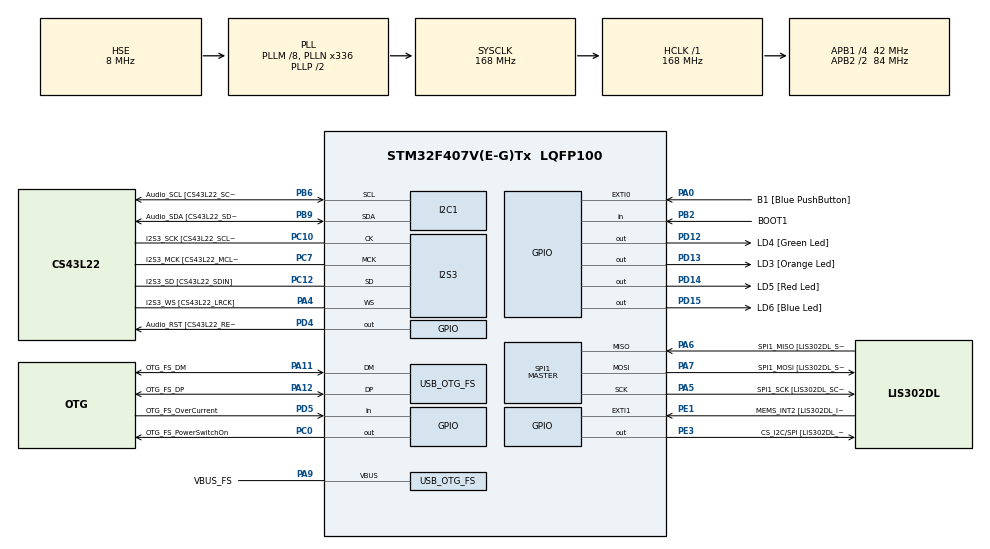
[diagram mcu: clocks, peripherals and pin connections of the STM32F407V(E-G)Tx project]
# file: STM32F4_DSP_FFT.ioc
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Dma.Request0=SPI3_TX
Dma.SPI3_TX.0.Direction=DMA_MEMORY_TO_PERIPH
Dma.SPI3_TX.0.FIFOMode=DMA_FIFOMODE_DISABLE
Dma.SPI3_TX.0.Instance=DMA1_Stream5
Dma.SPI3_TX.0.MemDataAlignment=DMA_MDATAALIGN_HALFWORD
Dma.SPI3_TX.0.MemInc=DMA_MINC_ENABLE
Dma.SPI3_TX.0.Mode=DMA_NORMAL
Dma.SPI3_TX.0.PeriphDataAlignment=DMA_PDATAALIGN_HALFWORD
Dma.SPI3_TX.0.PeriphInc=DMA_PINC_DISABLE
Dma.SPI3_TX.0.Priority=DMA_PRIORITY_HIGH
I2S3.AudioFreq-Half_Duplex_Master=I2S_AUDIOFREQ_96K
I2S3.ErrorAudioFreq=-2.34 %
I2S3.ErrorAudioFreq-Half_Duplex_Master=0.8 %
I2S3.FullDuplexMode=I2S_FULLDUPLEXMODE_DISABLE
I2S3.Instance=SPI$Index
I2S3.RealAudioFreq=93.75 KHz
I2S3.RealAudioFreq-Half_Duplex_Master=96.774 KHz
I2S3.VirtualMode=I2S_MODE_MASTER
Mcu.Family=STM32F4
Mcu.Name=STM32F407V(E-G)Tx
Mcu.Package=LQFP100
NVIC.DMA1_Stream5_IRQn=true\:0\:0\:false\:false\:true\:false\:true\:true
NVIC.OTG_FS_IRQn=true\:0\:0\:false\:false\:true\:true\:true\:true
NVIC.PriorityGroup=NVIC_PRIORITYGROUP_0
PA0-WKUP.GPIO_Label=B1 [Blue PushButton]
PA0-WKUP.GPIO_ModeDefaultEXTI=GPIO_MODE_EVT_RISING
PA0-WKUP.GPIO_PuPd=GPIO_NOPULL
PA0-WKUP.Signal=GPXTI0
PA10.GPIO_Label=OTG_FS_ID
PA10.GPIO_Mode=GPIO_MODE_AF_PP
PA10.GPIO_PuPd=GPIO_NOPULL
PA10.GPIO_Speed=GPIO_SPEED_FREQ_LOW
PA10.Signal=USB_OTG_FS_ID
PA11.GPIO_Label=OTG_FS_DM
PA11.GPIO_Mode=GPIO_MODE_AF_PP
PA11.GPIO_PuPd=GPIO_NOPULL
PA11.GPIO_Speed=GPIO_SPEED_FREQ_LOW
PA11.Mode=Host_Only
PA11.Signal=USB_OTG_FS_DM
PA12.GPIO_Label=OTG_FS_DP
PA12.GPIO_Mode=GPIO_MODE_AF_PP
PA12.GPIO_PuPd=GPIO_NOPULL
PA12.GPIO_Speed=GPIO_SPEED_FREQ_LOW
PA12.Mode=Host_Only
PA12.Signal=USB_OTG_FS_DP
PA13.GPIO_Label=SWDIO
PA13.Mode=Serial_Wire
PA13.Signal=SYS_JTMS-SWDIO
PA14.GPIO_Label=SWCLK
PA14.Mode=Serial_Wire
PA14.Signal=SYS_JTCK-SWCLK
PA4.GPIO_Label=I2S3_WS [CS43L22_LRCK]
PA4.GPIO_Mode=GPIO_MODE_AF_PP
PA4.GPIO_PuPd=GPIO_NOPULL
PA4.GPIO_Speed=GPIO_SPEED_FREQ_LOW
PA4.Mode=Half_Duplex_Master
PA4.Signal=I2S3_WS
PA5.GPIO_Label=SPI1_SCK [LIS302DL_SCL/SPC]
PA5.GPIO_Mode=GPIO_MODE_AF_PP
PA5.GPIO_PuPd=GPIO_NOPULL
PA5.GPIO_Speed=GPIO_SPEED_FREQ_LOW
PA5.Mode=Full_Duplex_Master
PA5.Signal=SPI1_SCK
PA6.GPIO_Label=SPI1_MISO [LIS302DL_SDO]
PA6.GPIO_Mode=GPIO_MODE_AF_PP
PA6.GPIO_PuPd=GPIO_NOPULL
PA6.GPIO_Speed=GPIO_SPEED_FREQ_LOW
PA6.Mode=Full_Duplex_Master
PA6.Signal=SPI1_MISO
PA7.GPIO_Label=SPI1_MOSI [LIS302DL_SDA/SDI/SDO]
PA7.GPIO_Mode=GPIO_MODE_AF_PP
PA7.GPIO_PuPd=GPIO_NOPULL
PA7.GPIO_Speed=GPIO_SPEED_FREQ_LOW
PA7.Mode=Full_Duplex_Master
PA7.Signal=SPI1_MOSI
PA9.GPIO_Label=VBUS_FS
PA9.GPIO_Mode=GPIO_MODE_INPUT
PA9.GPIO_PuPd=GPIO_NOPULL
PA9.Mode=Activate_VBUS
PA9.Signal=USB_OTG_FS_VBUS
PB10.GPIO_Label=CLK_IN [MP45DT02_CLK]
PB10.GPIO_Mode=GPIO_MODE_AF_PP
PB10.GPIO_PuPd=GPIO_NOPULL
PB10.GPIO_Speed=GPIO_SPEED_FREQ_LOW
PB10.Signal=I2S2_CK
PB2.GPIO_Label=BOOT1
PB2.GPIO_Mode=GPIO_MODE_INPUT
PB2.GPIO_PuPd=GPIO_NOPULL
PB2.Signal=GPIO_Input
PB3.GPIO_Label=SWO
PB3.Signal=SYS_JTDO-SWO
PB6.GPIO_Label=Audio_SCL [CS43L22_SCL]
PB6.GPIO_Mode=GPIO_MODE_AF_OD
PB6.GPIO_Pu=GPIO_PULLUP
PB6.GPIO_PuPd=GPIO_NOPULL
PB6.GPIO_Speed=GPIO_SPEED_FREQ_LOW
PB6.Mode=I2C
PB6.Signal=I2C1_SCL
PB9.GPIO_Label=Audio_SDA [CS43L22_SDA]
PB9.GPIO_Mode=GPIO_MODE_AF_OD
PB9.GPIO_Pu=GPIO_PULLUP
PB9.GPIO_PuPd=GPIO_NOPULL
PB9.GPIO_Speed=GPIO_SPEED_FREQ_LOW
PB9.Mode=I2C
PB9.Signal=I2C1_SDA
PC0.GPIO_Label=OTG_FS_PowerSwitchOn
PC0.GPIO_PuPd=GPIO_NOPULL
PC0.GPIO_Speed=GPIO_SPEED_FREQ_LOW
PC0.PinState=GPIO_PIN_SET
PC0.Signal=GPIO_Output
PC10.GPIO_Label=I2S3_SCK [CS43L22_SCLK]
PC10.GPIO_Mode=GPIO_MODE_AF_PP
PC10.GPIO_PuPd=GPIO_NOPULL
PC10.GPIO_Speed=GPIO_SPEED_FREQ_LOW
PC10.Mode=Half_Duplex_Master
PC10.Signal=I2S3_CK
PC12.GPIO_Label=I2S3_SD [CS43L22_SDIN]
PC12.GPIO_Mode=GPIO_MODE_AF_PP
PC12.GPIO_PuPd=GPIO_NOPULL
PC12.GPIO_Speed=GPIO_SPEED_FREQ_LOW
PC12.Mode=Half_Duplex_Master
PC12.Signal=I2S3_SD
PC14-OSC32_IN.GPIO_Label=PC14-OSC32_IN
PC14-OSC32_IN.Mode=LSE-External-Oscillator
PC14-OSC32_IN.Signal=RCC_OSC32_IN
PC15-OSC32_OUT.GPIO_Label=PC15-OSC32_OUT
PC15-OSC32_OUT.Mode=LSE-External-Oscillator
PC15-OSC32_OUT.Signal=RCC_OSC32_OUT
PC3.GPIO_Label=PDM_OUT [MP45DT02_DOUT]
PC3.GPIO_Mode=GPIO_MODE_AF_PP
PC3.GPIO_PuPd=GPIO_NOPULL
PC3.GPIO_Speed=GPIO_SPEED_FREQ_LOW
PC3.Signal=I2S2_SD
PC7.GPIO_Label=I2S3_MCK [CS43L22_MCLK]
PC7.GPIO_Mode=GPIO_MODE_AF_PP
PC7.GPIO_PuPd=GPIO_NOPULL
PC7.GPIO_Speed=GPIO_SPEED_FREQ_LOW
PC7.Mode=Master_Clock_Activated
PC7.Signal=I2S3_MCK
PD12.GPIO_Label=LD4 [Green Led]
PD12.GPIO_PuPd=GPIO_NOPULL
PD12.GPIO_Speed=GPIO_SPEED_FREQ_LOW
PD12.Signal=GPIO_Output
PD13.GPIO_Label=LD3 [Orange Led]
PD13.GPIO_PuPd=GPIO_NOPULL
PD13.GPIO_Speed=GPIO_SPEED_FREQ_LOW
PD13.Signal=GPIO_Output
PD14.GPIO_Label=LD5 [Red Led]
PD14.GPIO_PuPd=GPIO_NOPULL
PD14.GPIO_Speed=GPIO_SPEED_FREQ_LOW
PD14.Signal=GPIO_Output
PD15.GPIO_Label=LD6 [Blue Led]
PD15.GPIO_PuPd=GPIO_NOPULL
PD15.GPIO_Speed=GPIO_SPEED_FREQ_LOW
PD15.Signal=GPIO_Output
PD4.GPIO_Label=Audio_RST [CS43L22_RESET]
PD4.GPIO_PuPd=GPIO_NOPULL
PD4.GPIO_Speed=GPIO_SPEED_FREQ_LOW
PD4.Signal=GPIO_Output
PD5.GPIO_Label=OTG_FS_OverCurrent
PD5.GPIO_Mode=GPIO_MODE_INPUT
PD5.GPIO_PuPd=GPIO_NOPULL
PD5.Signal=GPIO_Input
PE1.GPIO_Label=MEMS_INT2 [LIS302DL_INT2]
PE1.GPIO_ModeDefaultEXTI=GPIO_MODE_EVT_RISING
PE1.GPIO_PuPd=GPIO_NOPULL
PE1.Signal=GPXTI1
PE3.GPIO_Label=CS_I2C/SPI [LIS302DL_CS_I2C/SPI]
PE3.GPIO_PuPd=GPIO_NOPULL
PE3.GPIO_Speed=GPIO_SPEED_FREQ_LOW
PE3.Signal=GPIO_Output
PH0-OSC_IN.GPIO_Label=PH0-OSC_IN
PH0-OSC_IN.Mode=HSE-External-Oscillator
PH0-OSC_IN.Signal=RCC_OSC_IN
PH1-OSC_OUT.GPIO_Label=PH1-OSC_OUT
PH1-OSC_OUT.Mode=HSE-External-Oscillator
PH1-OSC_OUT.Signal=RCC_OSC_OUT
ProjectManager.HeapSize=0x200
ProjectManager.StackSize=0x400
ProjectManager.TargetToolchain=STM32CubeIDE
RCC.48MHZClocksFreq_Value=48000000
RCC.AHBFreq_Value=168000000
RCC.APB1CLKDivider=RCC_HCLK_DIV4
RCC.APB1Freq_Value=42000000
RCC.APB1TimFreq_Value=84000000
RCC.APB2CLKDivider=RCC_HCLK_DIV2
RCC.APB2Freq_Value=84000000
RCC.APB2TimFreq_Value=168000000
RCC.CortexFreq_Value=168000000
RCC.HCLKFreq_Value=168000000
RCC.HSE_VALUE=8000000
RCC.HSI_VALUE=16000000
RCC.PLLM=8
RCC.PLLN=336
RCC.PLLQ=7
RCC.SYSCLKFreq_VALUE=168000000
RCC.SYSCLKSource=RCC_SYSCLKSOURCE_PLLCLK
RCC.VCOOutputFreq_Value=336000000
SPI1.BaudRatePrescaler-Full_Duplex_Master=SPI_BAUDRATEPRESCALER_2
SPI1.CalculateBaudRate-Full_Duplex_Master=42.0 MBits/s
SPI1.Direction=SPI_DIRECTION_2LINES
SPI1.Mode=SPI_MODE_MASTER
SPI1.Mode-Full_Duplex_Master=SPI_MODE_MASTER
SPI1.VirtualType=VM_MASTER
USB_HOST.BSP.number=1
USB_HOST.USBH_HandleTypeDef-CDC_FS=hUsbHostFS
USB_HOST.VirtualModeFS=Cdc
USB_HOST0.BSP.STBoard=false
USB_HOST0.BSP.api=Unknown
USB_HOST0.BSP.instance=PC0
USB_HOST0.BSP.ip=GPIO
USB_HOST0.BSP.mode=Output
USB_HOST0.BSP.name=Drive_VBUS_FS
USB_HOST0.BSP.solution=PC0
USB_OTG_FS.VirtualMode=Host_Only
USB_OTG_FS.phy_itface=HCD_PHY_EMBEDDED
VP_USB_HOST_VS_USB_HOST_CDC_FS.Mode=CDC_FS
board=STM32F407G-DISC1

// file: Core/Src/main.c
/* USER CODE BEGIN Header */
/**
  ******************************************************************************
  * @file           : main.c
  * @brief          : Main program body
  ******************************************************************************
  * @attention
  *
  * Copyright (c) 2025 STMicroelectronics.
  * All rights reserved.
  *
  * This software is licensed under terms that can be found in the LICENSE file
  * in the root directory of this software component.
  * If no LICENSE file comes with this software, it is provided AS-IS.
  *
  ******************************************************************************
  */
/* USER CODE END Header */
#include "main.h"
#include "usb_host.h"

/* USER CODE BEGIN Includes */
#include "arm_math.h"
#include "stm32f4_discovery_audio.h"

/* USER CODE END Includes */

/* USER CODE BEGIN PD */
#define SAMPLING_FREQ 16000		//BSP_audio_out sampling frequency
#define SAMPLES_QTY 128			//Signal buffer for one channel

#define FREQUENCY 1000.0		//Frequency to generate

/* USER CODE END PD */

I2C_HandleTypeDef hi2c1;

I2S_HandleTypeDef hi2s3;
DMA_HandleTypeDef hdma_spi3_tx;

SPI_HandleTypeDef hspi1;

/* USER CODE BEGIN PV */
static int16_t OutputBuffer[SAMPLES_QTY*2];	//Output, left+right channels
float32_t	InputArray[SAMPLES_QTY];		//Input array for generated signal

arm_rfft_fast_instance_f32 rFFT_S;			//Instance structure for the floating-point RFFT/RIFFT function
float32_t 	FFTOutputArray[SAMPLES_QTY];	//FFT array
float32_t	FFTMagnitude[SAMPLES_QTY/2];	//FFT magnitude array
float32_t	FFTRePart[SAMPLES_QTY/2];
float32_t	FFTImPart[SAMPLES_QTY/2];
float32_t	FFTPhase[SAMPLES_QTY/2];
float32_t	FFTPhase_masked[SAMPLES_QTY/2];
float32_t	OutputSignalArray[SAMPLES_QTY];	//Signal array after inverse FFT

/* USER CODE END PV */

void SystemClock_Config(void);
static void MX_GPIO_Init(void);
static void MX_DMA_Init(void);
static void MX_I2C1_Init(void);
static void MX_I2S3_Init(void);
static void MX_SPI1_Init(void);
void MX_USB_HOST_Process(void);

/* USER CODE BEGIN PFP */
void FFT_calculation(void);
void FFT_filtering(void);

/* USER CODE END PFP */

int main(void)
{

  /* MCU Configuration--------------------------------------------------------*/

  /* Reset of all peripherals, Initializes the Flash interface and the Systick. */
  HAL_Init();

  /* Configure the system clock */
  SystemClock_Config();

  /* Initialize all configured peripherals */
  MX_GPIO_Init();
  MX_DMA_Init();
  MX_I2C1_Init();
  MX_I2S3_Init();
  MX_SPI1_Init();
  MX_USB_HOST_Init();
  /* USER CODE BEGIN 2 */

	if(BSP_AUDIO_OUT_Init(OUTPUT_DEVICE_AUTO, 80, SAMPLING_FREQ) != AUDIO_OK)
	{
    	Error_Handler();
	}

	/*** Test Signal generation ***/
	for(int index = 0; index < SAMPLES_QTY; index++)
	{
	  	//Test signal 1000 Hz + 3000 Hz
		//InputArray[index] = ( 20000*sin((FREQUENCY/SAMPLING_FREQ)*2*PI*index) + 10000*sin(3*(FREQUENCY/SAMPLING_FREQ)*2*PI*index) );
		//Cos + PI/6 shift
		InputArray[index] = ( 20000*cos((FREQUENCY/SAMPLING_FREQ)*2*PI*index + PI/6) );
	}

	/*** FFT related functions ***/
	FFT_calculation();
	//FFT_filtering();

	/*** Fill Output Buffer ***/
	for(int i = 0; i < SAMPLES_QTY; i++)
	{
		OutputBuffer[i<<1] = (int16_t)InputArray[i];
		OutputBuffer[(i<<1)+1] = (int16_t)InputArray[i];
	}

	/*** Start Audio play ***/
	BSP_AUDIO_OUT_Play((uint16_t*)&OutputBuffer[0], SAMPLES_QTY*2);

  /* USER CODE END 2 */

  /* Infinite loop */
  /* USER CODE BEGIN WHILE */
  while (1)
  {
	  HAL_GPIO_TogglePin(LD4_GPIO_Port, LD4_Pin);
	  HAL_Delay(200);

    /* USER CODE END WHILE */
    //MX_USB_HOST_Process();

  }
}

void SystemClock_Config(void)
{
  RCC_OscInitTypeDef RCC_OscInitStruct = {0};
  RCC_ClkInitTypeDef RCC_ClkInitStruct = {0};

  /** Configure the main internal regulator output voltage
  */
  __HAL_RCC_PWR_CLK_ENABLE();
  __HAL_PWR_VOLTAGESCALING_CONFIG(PWR_REGULATOR_VOLTAGE_SCALE1);

  /** Initializes the RCC Oscillators according to the specified parameters
  * in the RCC_OscInitTypeDef structure.
  */
  RCC_OscInitStruct.OscillatorType = RCC_OSCILLATORTYPE_HSE;
  RCC_OscInitStruct.HSEState = RCC_HSE_ON;
  RCC_OscInitStruct.PLL.PLLState = RCC_PLL_ON;
  RCC_OscInitStruct.PLL.PLLSource = RCC_PLLSOURCE_HSE;
  RCC_OscInitStruct.PLL.PLLM = 8;
  RCC_OscInitStruct.PLL.PLLN = 336;
  RCC_OscInitStruct.PLL.PLLP = RCC_PLLP_DIV2;
  RCC_OscInitStruct.PLL.PLLQ = 7;
  if (HAL_RCC_OscConfig(&RCC_OscInitStruct) != HAL_OK)
  {
    Error_Handler();
  }

  /** Initializes the CPU, AHB and APB buses clocks
  */
  RCC_ClkInitStruct.ClockType = RCC_CLOCKTYPE_HCLK|RCC_CLOCKTYPE_SYSCLK
                              |RCC_CLOCKTYPE_PCLK1|RCC_CLOCKTYPE_PCLK2;
  RCC_ClkInitStruct.SYSCLKSource = RCC_SYSCLKSOURCE_PLLCLK;
  RCC_ClkInitStruct.AHBCLKDivider = RCC_SYSCLK_DIV1;
  RCC_ClkInitStruct.APB1CLKDivider = RCC_HCLK_DIV4;
  RCC_ClkInitStruct.APB2CLKDivider = RCC_HCLK_DIV2;

  if (HAL_RCC_ClockConfig(&RCC_ClkInitStruct, FLASH_LATENCY_5) != HAL_OK)
  {
    Error_Handler();
  }
}

static void MX_I2C1_Init(void)
{

  hi2c1.Instance = I2C1;
  hi2c1.Init.ClockSpeed = 100000;
  hi2c1.Init.DutyCycle = I2C_DUTYCYCLE_2;
  hi2c1.Init.OwnAddress1 = 0;
  hi2c1.Init.AddressingMode = I2C_ADDRESSINGMODE_7BIT;
  hi2c1.Init.DualAddressMode = I2C_DUALADDRESS_DISABLE;
  hi2c1.Init.OwnAddress2 = 0;
  hi2c1.Init.GeneralCallMode = I2C_GENERALCALL_DISABLE;
  hi2c1.Init.NoStretchMode = I2C_NOSTRETCH_DISABLE;
  if (HAL_I2C_Init(&hi2c1) != HAL_OK)
  {
    Error_Handler();
  }

}

static void MX_I2S3_Init(void)
{

  hi2s3.Instance = SPI3;
  hi2s3.Init.Mode = I2S_MODE_MASTER_TX;
  hi2s3.Init.Standard = I2S_STANDARD_PHILIPS;
  hi2s3.Init.DataFormat = I2S_DATAFORMAT_16B;
  hi2s3.Init.MCLKOutput = I2S_MCLKOUTPUT_ENABLE;
  hi2s3.Init.AudioFreq = I2S_AUDIOFREQ_96K;
  hi2s3.Init.CPOL = I2S_CPOL_LOW;
  hi2s3.Init.ClockSource = I2S_CLOCK_PLL;
  hi2s3.Init.FullDuplexMode = I2S_FULLDUPLEXMODE_DISABLE;
  if (HAL_I2S_Init(&hi2s3) != HAL_OK)
  {
    Error_Handler();
  }

}

static void MX_SPI1_Init(void)
{

  /* SPI1 parameter configuration*/
  hspi1.Instance = SPI1;
  hspi1.Init.Mode = SPI_MODE_MASTER;
  hspi1.Init.Direction = SPI_DIRECTION_2LINES;
  hspi1.Init.DataSize = SPI_DATASIZE_8BIT;
  hspi1.Init.CLKPolarity = SPI_POLARITY_LOW;
  hspi1.Init.CLKPhase = SPI_PHASE_1EDGE;
  hspi1.Init.NSS = SPI_NSS_SOFT;
  hspi1.Init.BaudRatePrescaler = SPI_BAUDRATEPRESCALER_2;
  hspi1.Init.FirstBit = SPI_FIRSTBIT_MSB;
  hspi1.Init.TIMode = SPI_TIMODE_DISABLE;
  hspi1.Init.CRCCalculation = SPI_CRCCALCULATION_DISABLE;
  hspi1.Init.CRCPolynomial = 10;
  if (HAL_SPI_Init(&hspi1) != HAL_OK)
  {
    Error_Handler();
  }

}

static void MX_DMA_Init(void)
{

  /* DMA controller clock enable */
  __HAL_RCC_DMA1_CLK_ENABLE();

  /* DMA interrupt init */
  /* DMA1_Stream5_IRQn interrupt configuration */
  HAL_NVIC_SetPriority(DMA1_Stream5_IRQn, 0, 0);
  HAL_NVIC_EnableIRQ(DMA1_Stream5_IRQn);

}

static void MX_GPIO_Init(void)
{
  GPIO_InitTypeDef GPIO_InitStruct = {0};

  /* GPIO Ports Clock Enable */
  __HAL_RCC_GPIOE_CLK_ENABLE();
  __HAL_RCC_GPIOC_CLK_ENABLE();
  __HAL_RCC_GPIOH_CLK_ENABLE();
  __HAL_RCC_GPIOA_CLK_ENABLE();
  __HAL_RCC_GPIOB_CLK_ENABLE();
  __HAL_RCC_GPIOD_CLK_ENABLE();

  /*Configure GPIO pin Output Level */
  HAL_GPIO_WritePin(CS_I2C_SPI_GPIO_Port, CS_I2C_SPI_Pin, GPIO_PIN_RESET);

  /*Configure GPIO pin Output Level */
  HAL_GPIO_WritePin(OTG_FS_PowerSwitchOn_GPIO_Port, OTG_FS_PowerSwitchOn_Pin, GPIO_PIN_SET);

  /*Configure GPIO pin Output Level */
  HAL_GPIO_WritePin(GPIOD, LD4_Pin|LD3_Pin|LD5_Pin|LD6_Pin
                          |Audio_RST_Pin, GPIO_PIN_RESET);

  /*Configure GPIO pin : CS_I2C_SPI_Pin */
  GPIO_InitStruct.Pin = CS_I2C_SPI_Pin;
  GPIO_InitStruct.Mode = GPIO_MODE_OUTPUT_PP;
  GPIO_InitStruct.Pull = GPIO_NOPULL;
  GPIO_InitStruct.Speed = GPIO_SPEED_FREQ_LOW;
  HAL_GPIO_Init(CS_I2C_SPI_GPIO_Port, &GPIO_InitStruct);

  /*Configure GPIO pin : OTG_FS_PowerSwitchOn_Pin */
  GPIO_InitStruct.Pin = OTG_FS_PowerSwitchOn_Pin;
  GPIO_InitStruct.Mode = GPIO_MODE_OUTPUT_PP;
  GPIO_InitStruct.Pull = GPIO_NOPULL;
  GPIO_InitStruct.Speed = GPIO_SPEED_FREQ_LOW;
  HAL_GPIO_Init(OTG_FS_PowerSwitchOn_GPIO_Port, &GPIO_InitStruct);

  /*Configure GPIO pin : PDM_OUT_Pin */
  GPIO_InitStruct.Pin = PDM_OUT_Pin;
  GPIO_InitStruct.Mode = GPIO_MODE_AF_PP;
  GPIO_InitStruct.Pull = GPIO_NOPULL;
  GPIO_InitStruct.Speed = GPIO_SPEED_FREQ_LOW;
  GPIO_InitStruct.Alternate = GPIO_AF5_SPI2;
  HAL_GPIO_Init(PDM_OUT_GPIO_Port, &GPIO_InitStruct);

  /*Configure GPIO pin : B1_Pin */
  GPIO_InitStruct.Pin = B1_Pin;
  GPIO_InitStruct.Mode = GPIO_MODE_EVT_RISING;
  GPIO_InitStruct.Pull = GPIO_NOPULL;
  HAL_GPIO_Init(B1_GPIO_Port, &GPIO_InitStruct);

  /*Configure GPIO pin : BOOT1_Pin */
  GPIO_InitStruct.Pin = BOOT1_Pin;
  GPIO_InitStruct.Mode = GPIO_MODE_INPUT;
  GPIO_InitStruct.Pull = GPIO_NOPULL;
  HAL_GPIO_Init(BOOT1_GPIO_Port, &GPIO_InitStruct);

  /*Configure GPIO pin : CLK_IN_Pin */
  GPIO_InitStruct.Pin = CLK_IN_Pin;
  GPIO_InitStruct.Mode = GPIO_MODE_AF_PP;
  GPIO_InitStruct.Pull = GPIO_NOPULL;
  GPIO_InitStruct.Speed = GPIO_SPEED_FREQ_LOW;
  GPIO_InitStruct.Alternate = GPIO_AF5_SPI2;
  HAL_GPIO_Init(CLK_IN_GPIO_Port, &GPIO_InitStruct);

  /*Configure GPIO pins : LD4_Pin LD3_Pin LD5_Pin LD6_Pin
                           Audio_RST_Pin */
  GPIO_InitStruct.Pin = LD4_Pin|LD3_Pin|LD5_Pin|LD6_Pin
                          |Audio_RST_Pin;
  GPIO_InitStruct.Mode = GPIO_MODE_OUTPUT_PP;
  GPIO_InitStruct.Pull = GPIO_NOPULL;
  GPIO_InitStruct.Speed = GPIO_SPEED_FREQ_LOW;
  HAL_GPIO_Init(GPIOD, &GPIO_InitStruct);

  /*Configure GPIO pin : OTG_FS_OverCurrent_Pin */
  GPIO_InitStruct.Pin = OTG_FS_OverCurrent_Pin;
  GPIO_InitStruct.Mode = GPIO_MODE_INPUT;
  GPIO_InitStruct.Pull = GPIO_NOPULL;
  HAL_GPIO_Init(OTG_FS_OverCurrent_GPIO_Port, &GPIO_InitStruct);

  /*Configure GPIO pin : MEMS_INT2_Pin */
  GPIO_InitStruct.Pin = MEMS_INT2_Pin;
  GPIO_InitStruct.Mode = GPIO_MODE_EVT_RISING;
  GPIO_InitStruct.Pull = GPIO_NOPULL;
  HAL_GPIO_Init(MEMS_INT2_GPIO_Port, &GPIO_InitStruct);

}

/* USER CODE BEGIN 4 */

void FFT_calculation(void)
{
	float32_t FFTMaxValue, threshold;
	uint32_t MaxIndex;

	//rFFT initialization. Supported FFT Lengths are 32, 64, 128, 256, 512, 1024, 2048, 4096.
	arm_rfft_fast_init_f32(&rFFT_S, SAMPLES_QTY);

	//rFFT process. 0 = RFFT, 1 = RIFFT
	arm_rfft_fast_f32(&rFFT_S, InputArray, FFTOutputArray, 0);	//direct FFT calculation
	FFTOutputArray[0] = 0; 										//DC

	//Calculate the Magnitude
	arm_cmplx_mag_f32(FFTOutputArray, FFTMagnitude, SAMPLES_QTY/2);

	//Phase calculation
	for(int i=0; i<SAMPLES_QTY/2; i++)
	{
		FFTRePart[i] = FFTOutputArray[2*i];
		FFTImPart[i] = FFTOutputArray[(2*i)+1];
		FFTPhase[i] = (atan(FFTImPart[i]/FFTRePart[i]))*180/PI;
	}

	//Find max value
	arm_max_f32(&FFTMagnitude, SAMPLES_QTY/2, &FFTMaxValue, &MaxIndex);

	//Mask out small values
	threshold = FFTMaxValue / 1000;
	for(int i=0; i<SAMPLES_QTY/2; i++)
	{
		if(fabs(FFTImPart[i])<threshold) FFTImPart[i] = 0;
	}

	//Phase calculation
	for(int i=0; i<SAMPLES_QTY/2; i++)
	{
		FFTPhase_masked[i] = (atan(FFTImPart[i]/FFTRePart[i]))*180/PI;
	}
}

void FFT_filtering(void)
{
	//rFFT initialization. Supported FFT Lengths are 32, 64, 128, 256, 512, 1024, 2048, 4096.
	arm_rfft_fast_init_f32(&rFFT_S, SAMPLES_QTY);

	//rFFT process. 0 = RFFT, 1 = RIFFT
	arm_rfft_fast_f32(&rFFT_S, InputArray, FFTOutputArray, 0);	//direct FFT calculation

	//Remove some frequencies
	for(int i=20; i<SAMPLES_QTY; i++)
		FFTOutputArray[i] = 0;

	//rFFT process. 0 = RFFT, 1 = RIFFT
		arm_rfft_fast_f32(&rFFT_S, FFTOutputArray, OutputSignalArray, 1);	//inverse FFT calculation
}

/*** Back to Buffer beginning ***/
	void BSP_AUDIO_OUT_TransferComplete_CallBack(void)
	{
		BSP_AUDIO_OUT_ChangeBuffer((uint16_t*)&OutputBuffer[0], SAMPLES_QTY*2);
		HAL_GPIO_TogglePin(LD3_GPIO_Port, LD3_Pin);
	}

/* USER CODE END 4 */

void Error_Handler(void)
{
  __disable_irq();
  while (1)
  {
  }
}
